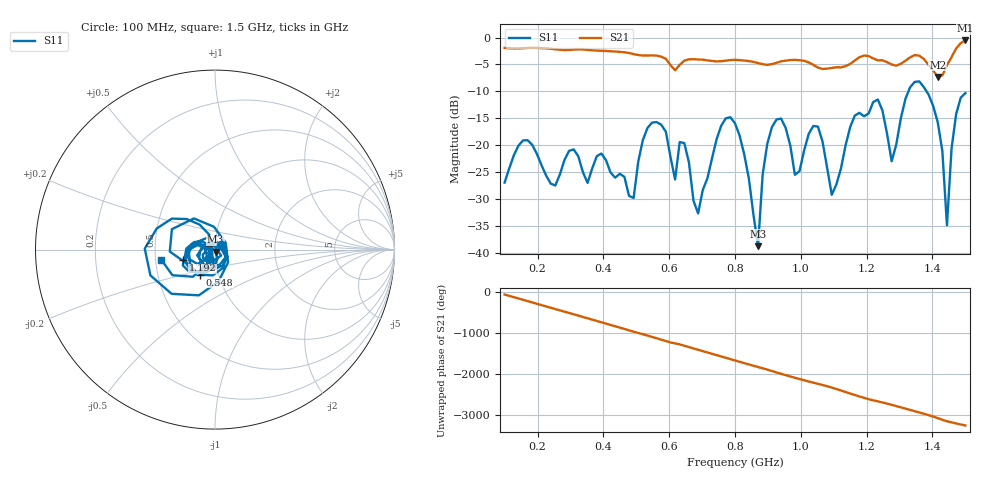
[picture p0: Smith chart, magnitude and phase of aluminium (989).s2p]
! NanoVNA-App
! Date: 2025-09-25 15:02:59
! Start: 100MHz Stop: 1,5GHz Points: 101
! S-Parameter data: F S11 S21 S12 S22
# Hz S RI R 50
!  Frequency  S11_Real  S11_Imag  S21_Real  S21_Imag  S12_Real  S12_Imag  S22_Real  S22_Imag
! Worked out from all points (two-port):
!   101 points, 100 MHz to 1.5 GHz, reference 50 ohm
!   highest |S21| = -0.53 dB at 1.5 GHz (marker M1); lowest = -7.3 dB at 1.416 GHz (marker M2)
!   |S21| within 3 dB of the highest: start of sweep to 575.1 MHz; 1.459 GHz to end of sweep (the widest 2 of 4)
!   lowest |S11| = -38.8 dB at 870 MHz (marker M3), VSWR 1.02, Z = 50.3 - j1.12 ohm
!   |S11| at or under -10 dB: start of sweep to 1.327 GHz; 1.382 GHz to end of sweep
!   S12 and S22 are empty: the file has one direction only
!   S11 on the Smith chart (normalised r, x): 100 MHz: 1.07, +0.06; 548 MHz: 0.82, -0.24; 1.192 GHz: 0.70, -0.09; 1.5 GHz: 0.54, -0.07
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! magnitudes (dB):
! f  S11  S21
! 100 MHz  -27.0  -1.9
! 156 MHz  -19.1  -2.0
! 338 MHz  -25.0  -2.2
! 492 MHz  -29.8  -3.1
! 548 MHz  -15.8  -3.3
! 576 MHz  -16.2  -3.5
! 646 MHz  -19.6  -4.3
! 688 MHz  -32.7  -4.1
! 800 MHz  -15.9  -4.1
! 870 MHz  -38.8  -4.7
! 912 MHz  -16.7  -4.9
! 982 MHz  -25.5  -4.2
! 1.038 GHz  -16.4  -5.1
! 1.094 GHz  -29.2  -5.6
! 1.192 GHz  -14.6  -3.3
! 1.234 GHz  -11.5  -4.2
! 1.276 GHz  -23.0  -5.0
! 1.346 GHz  -8.2  -3.3
! 1.416 GHz  -15.7  -7.3
! 1.444 GHz  -34.9  -5.1
! 1.472 GHz  -14.2  -2.0
! 1.5 GHz  -10.3  -0.5
